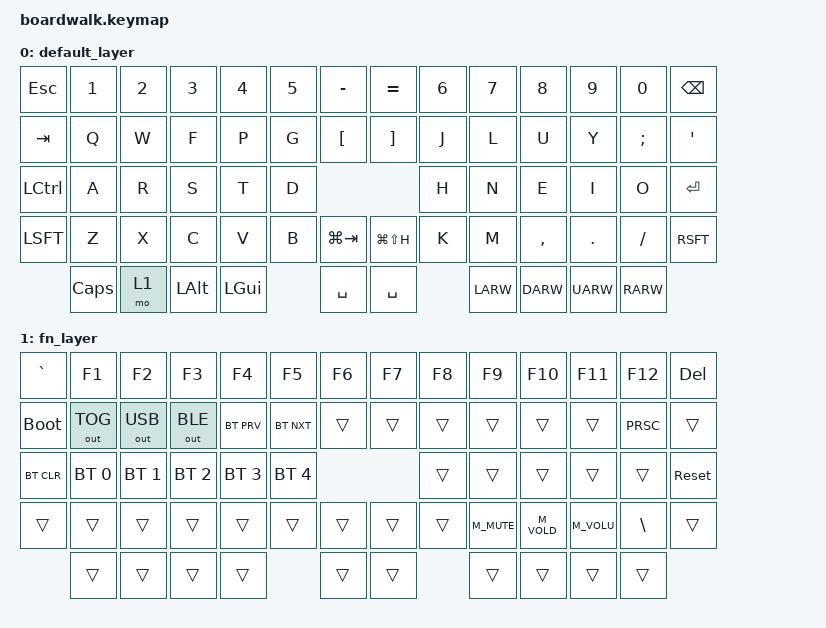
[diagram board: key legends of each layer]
/*
 * Copyright (c) 2020 Pete Johanson, Richard Jones
 *
 * SPDX-License-Identifier: MIT
 */

#include <behaviors.dtsi>
#include <dt-bindings/zmk/keys.h>
#include <dt-bindings/zmk/bt.h>
#include <dt-bindings/zmk/outputs.h>

/ {
    keymap {
        compatible = "zmk,keymap";
        
        default_layer {
// .-----------------------------------------------------------------------------------------------------------------------------.
// | ESC    | 1      | 2      | 3      | 4      | 5      | -      | =      | 6      | 7      | 8      | 9      | 0      | BACKSP |
// |--------+--------+--------+--------+--------+--------+--------+--------+--------+--------+--------+--------+-----------------|
// | TAB    | Q      | W      | F      | P      | G      | [      | ]      | J      | L      | U      | Y      | ;      | '      |
// |--------+--------+--------+--------+--------+--------+        +        +--------+--------+--------+-----------------+--------|
// | LCTRL  | A      | R      | S      | T      | D      |--------|--------| H      | N      | E      | I      | O      | ENTER  |
// |--------+--------+--------+--------+--------+--------+ LG TAB + LG LS H+--------+--------+--------------------------+--------|
// | LSHIFT | Z      | X      | C      | V      | B      |        |        | K      | M      | ,      | .      | /      | RSHIFT |
// '--------+--------+--------+--------+--------+-----------------+--------+--------+--------+-----------------+--------+--------'
//          | CAPS   | FN     | LALT   | LGUI   |      SPACE      |      SPACE      | LEFT   | DOWN  | UP      | RIGHT  |
//          '-----------------------------------------------------------------------------------------------------------'

            bindings = <
    &kp ESC  &kp NUM_1 &kp NUM_2 &kp NUM_3 &kp NUM_4 &kp NUM_5 &kp MINUS   &kp EQL       &kp NUM_6 &kp NUM_7 &kp NUM_8 &kp NUM_9 &kp NUM_0 &kp BKSP
    &kp TAB  &kp Q     &kp W     &kp F     &kp P     &kp G     &kp LBKT    &kp RBKT      &kp J     &kp L     &kp U     &kp Y     &kp SCLN  &kp QUOT
    &kp LCTL &kp A     &kp R     &kp S     &kp T     &kp D                               &kp H     &kp N     &kp E     &kp I     &kp O     &kp RET
    &kp LSFT &kp Z     &kp X     &kp C     &kp V     &kp B     &kp LG(TAB) &kp LG(LS(H)) &kp K     &kp M     &kp CMMA  &kp DOT   &kp FSLH  &kp RSFT
             &kp CLCK  &mo 1     &kp LALT  &kp LGUI            &kp SPC     &kp SPC                 &kp LARW  &kp DARW  &kp UARW  &kp RARW
            >;
        };

        fn_layer {
// .-----------------------------------------------------------------------------------------------------------------------------.
// | `      | F1     | F2     | F3     | F4     | F5     | F6     | F7     | F8     | F9     | F10    | F11    | F12    | DEL    |
// |--------+--------+--------+--------+--------+--------+--------+--------+--------+--------+--------+--------+-----------------|
// | DFU    | OUT TOG| OUT USB| OUT BLE| BT PRV | BT NXT |        |        |        |        |        |        | PRT SC |        |
// |--------+--------+--------+--------+--------+--------+        +        +--------+--------+--------+-----------------+--------|
// | BT CLR | BT 0   | BT 1   | BT 2   | BT 3   | BT 4   |--------|--------|        |        |        |        |        | RESET  |
// |--------+--------+--------+--------+--------+--------+        +        +--------+--------+--------------------------+--------|
// |        |        |        |        |        |        |        |        |        | MUTE   | VOL DN | VOL UP | \      |        |
// '--------+--------+--------+--------+--------+-----------------+--------+--------+--------+-----------------+--------+--------'
//          |        |        |        |        |                 |                 |        |        |        |        |
//          '-----------------------------------------------------------------------------------------------------------'
//

            bindings = <
    &kp GRAV    &kp F1       &kp F2       &kp F3       &kp F4       &kp F5       &kp F6 &kp F7 &kp F8 &kp F9     &kp F10    &kp F11    &kp F12  &kp DEL
    &bootloader &out OUT_TOG &out OUT_USB &out OUT_BLE &bt BT_PRV   &bt BT_NXT   &trans &trans &trans &trans     &trans     &trans     &kp PRSC &trans
    &bt BT_CLR  &bt BT_SEL 0 &bt BT_SEL 1 &bt BT_SEL 2 &bt BT_SEL 3 &bt BT_SEL 4               &trans &trans     &trans     &trans     &trans   &sys_reset
    &trans      &trans       &trans       &trans       &trans       &trans       &trans &trans &trans &kp M_MUTE &kp M_VOLD &kp M_VOLU &kp BSLH &trans
                &trans       &trans       &trans       &trans                    &trans &trans        &trans     &trans     &trans     &trans
            >;
        };
    };
};


